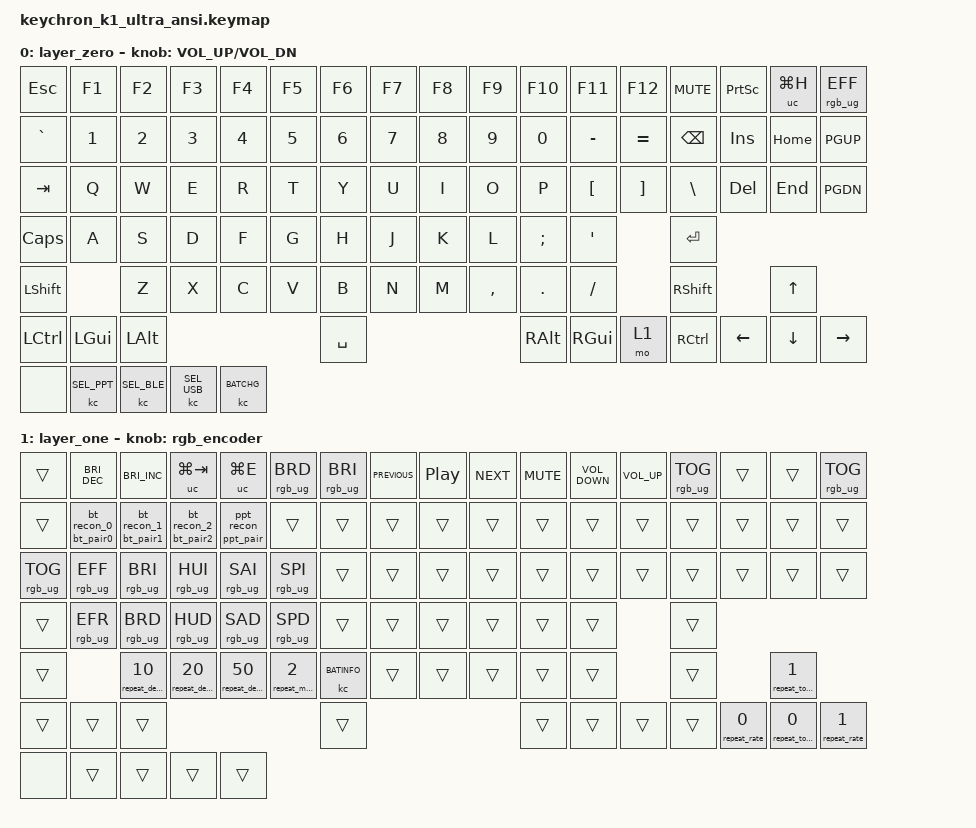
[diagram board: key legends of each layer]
/*
 * Copyright (c) 2023 The ZMK Contributors
 *
 * SPDX-License-Identifier: MIT
 */

#include <behaviors.dtsi>
#include <dt-bindings/zmk/bt.h>
#include <dt-bindings/zmk/keys.h>
#include <dt-bindings/zmk/rgb.h>
#include <dt-bindings/zmk/bt.h>
#include <dt-bindings/zmk/outputs.h>
#include <dt-bindings/zmk/keychron.h>

// [1] Enable with CONFIG_ZMK_KEY_REPEAT=y (already set in this shield's .conf).
//     Repeat is off by default; Fn+Up enables it, Fn+Down disables it, and, while it is on, pressing Enter pauses it for 5 seconds.
//     Pressing Enter again during the pause restarts the 5-second countdown.
//     Bind repeatable keys normally, e.g. &kp A or &kp BACKSPACE; they repeat while enabled.
//     Fn+Z/X/C sets the first-repeat delay to 10/20/50 ms; default is 20 ms.
//     Repeat interval defaults to 30 ms (10-100 ms, in 5 ms steps).
//     &repeat_rate 0 decreases the interval (faster); &repeat_rate 1 increases it (slower).
//     Fn+Left/Right adjusts the interval.
//     Fn+V toggles multi-key repeat: with it on, every held key repeats, otherwise only the newest.
//     Multi-key repeat only works while repeat is on; Fn+Up turns it on together with repeat and
//     Fn+Down turns it off together with repeat. Up to 6 keys repeat at once.
//     Both timings reset to their defaults after reboot.
//     Only 1-5, Q and E repeat; all other keys never repeat (edit is_repeatable() in src/key_auto_repeat.c).

// FUCK YOU

/ {
    behaviors {
        repeat_rate: repeat_rate {
            compatible = "zmk,behavior-key-repeat-rate";
            #binding-cells = <1>;
        };
        repeat_toggle: repeat_toggle {
            compatible = "zmk,behavior-key-repeat-toggle";
            #binding-cells = <1>;
        };
        repeat_delay: repeat_delay {
            compatible = "zmk,behavior-key-repeat-delay";
            #binding-cells = <1>;
        };
        repeat_multi: repeat_multi {
            compatible = "zmk,behavior-key-repeat-multi";
            #binding-cells = <1>;
        };
        repeat_pause: repeat_pause {
            compatible = "zmk,behavior-key-repeat-pause";
            #binding-cells = <0>;
        };
        rgb_encoder: rgb_encoder {
            compatible = "zmk,behavior-sensor-rotate";
            #sensor-binding-cells = <0>;
            bindings = <&rgb_ug RGB_BRI>, <&rgb_ug RGB_BRD>;
            tap-ms =<20>;
        };
        mouse_encoder: mouse_encoder {
            compatible = "zmk,behavior-sensor-rotate-var";
            #sensor-binding-cells = <2>;
            bindings = <&mkp>, <&mkp>;
            tap-ms =<20>;
        };
    };
    macro1:zm_ma{
        compatible = "zmk,behavior-macro-one-param";
        #binding-cells = <1>;
        bindings=<&kp 0x770000>;
    };

    // mac_lock:mac_lock{
    //     compatible = "zmk,behavior-macro";
    //     #binding-cells = <0>;
    //     bindings
    //         = <&macro_tap_time 200>,
    //           < &kp C_AL_LOCK>
          
    //         ;
    //  };

    // encoder_any: encoder_any {
    //     compatible = "zmk,behavior-sensor-rotate-var";
    //     #sensor-binding-cells = <2>;
    //     bindings = <&kp>, <&kp>;
    //     tap-ms =<20>;
    // };

    lm: layer_mod {
        compatible = "zmk,behavior-macro-two-param";
        wait-ms = <0>;
        tap-ms = <0>;
        #binding-cells = <2>;
        bindings
            = <&macro_param_1to1>
            , <&macro_press &mo 0>
            , <&macro_param_2to1>
            , <&macro_press &kp 0>
            , <&macro_pause_for_release>
            , <&macro_param_2to1>
            , <&macro_release &kp 0>
            , <&macro_param_1to1>
            , <&macro_release &mo 0>
            ;
    };
    // td1:tapd_layer{
    //     compatible = "zmk,behavior-tap-dance1";
    //     #binding-cells = <1>;
    //     tapping-term-ms = <350>;
    //     bindings =<&mo 0>,<&mo 0>,<&mo 0>,<&mo 0>,<&to 0>;
    // };

    kc_lp:l1{
        compatible = "zmk,behavior-hold-tap";
        #binding-cells = <2>;
        flavor = "tap-preferred";
        tapping-term-ms = <3000>;  // delay amount in ms
        bindings = <&kc>,<&none>;
    };

    long_press_bootloader:lp_bootloader{
        compatible = "zmk,behavior-hold-tap";
        #binding-cells = <2>;
        flavor = "tap-preferred";
        tapping-term-ms = <3000>;  // delay amount in ms
        bindings = <&bootloader>, <&none>;
    };
    // kc_nkro:kc_nkro{
    //     compatible = "zmk,behavior-hold-tap";
    //     #binding-cells = <2>;
    //     flavor = "tap-preferred";
    //     tapping-term-ms = <2000>;  // delay amount in ms
    //     bindings = <&kc NKRO>, <&none>;
    // };
    // Custom key slots: place &custom_key_1 / &custom_key_2 in any layer.
    // Edit only the bindings below to define what each key does, e.g.
    //   bindings = <&kp LC(C)>;                      // single key / shortcut
    //   bindings = <&kp H &kp I>;                    // key sequence
    //   bindings = <&kc BATINFO>;                    // Keychron function
    // They are unassigned (&none) until changed.
    ZMK_MACRO(custom_key_1, bindings = <&none>;)
    ZMK_MACRO(custom_key_2, bindings = <&none>;)
    ZMK_MACRO(bt_pair0, bindings = <&kc BT_PAIR 0>;)
    ZMK_MACRO(bt_pair1, bindings = <&kc BT_PAIR 1>;)
    ZMK_MACRO(bt_pair2, bindings = <&kc BT_PAIR 2>;)
    ZMK_MACRO(ppt_pair, bindings = <&kc PPT_PAIR 0>;)
    ZMK_MACRO(bt_recon_0, bindings = <&kc BT_SEL 0>;)
    ZMK_MACRO(bt_recon_1, bindings = <&kc BT_SEL 1>;)
    ZMK_MACRO(bt_recon_2, bindings = <&kc BT_SEL 2>;)
    ZMK_MACRO(ppt_recon, bindings = <&kc PPT_SEL 0>;)
    


    bt_pair_0: bt_pair_0 {
        compatible = "zmk,behavior-hold-tap";
  
        #binding-cells = <2>;
        flavor = "tap-preferred";
        tapping-term-ms = <3000>;  // delay amount in ms
        bindings = <&bt_pair0>, <&bt_recon_0>;
    };
    bt_pair_1: bt_pair_1 {
        compatible = "zmk,behavior-hold-tap";
 
        #binding-cells = <2>;
        flavor = "tap-preferred";
        tapping-term-ms = <3000>;  // delay amount in ms
        bindings = <&bt_pair1>, <&bt_recon_1>;
    };
    bt_pair_2: bt_pair_2 {
        compatible = "zmk,behavior-hold-tap";

        #binding-cells = <2>;
        flavor = "tap-preferred";
        tapping-term-ms = <3000>;  // delay amount in ms
        bindings = <&bt_pair2>, <&bt_recon_2>;
    };
    ppt_pair_0: ppt_pair_0 {
        compatible = "zmk,behavior-hold-tap";

        #binding-cells = <2>;
        flavor = "tap-preferred";
        tapping-term-ms = <3000>;  // delay amount in ms
        bindings = <&ppt_pair>, <&ppt_recon>;
    };
    uc:user_custom {
        compatible = "zmk,behavior-key-press";
        #binding-cells =<1>;
    };
    combos {
        compatible = "zmk,combos";
        combo_a {
                timeout-ms = <1000>;
                layers =< 0 1>;
                key-positions = <58 65>; //fn+j+z
                bindings = <&kc_lp RCV>;
        };
        // combo_b {v
        //         timeout-ms = <1000>;
        //         layers =< 0 1>;
        //         key-positions = <64>; //fn+b
        //         bindings = <&kc BATINFO>;
        // };
        // combo_c {
        //         timeout-ms = <1000>;
        //         layers =< 0 1>;
        //         key-positions = <58 81>; //fn+home+right
        //         bindings = <&kc_lp RGBTEST>;
        // };
        // combo_win_l {
        //     timeout-ms = <500>;
        //     layers =<1>;
        //     //slow-release = <true>;
        //     key-positions = <89>; //fn+win
        //     bindings = <&long_press_fn_win 0 0>;
        // };
    };

    ZMK_MACRO(fn_win_l, bindings = <&kc FN_WIN 0>;)
    ZMK_MACRO(fn_win_s, bindings = <&kc FN_WIN 1>;)
    long_press_fn_win:l4{
        compatible = "zmk,behavior-hold-tap";
        label = "lp_fn_win";
        #binding-cells = <2>;
        flavor = "tap-preferred";
        tapping-term-ms = <3000>;   
        bindings = <&fn_win_l>, <&fn_win_s>;
    };
    ZMK_MACRO(fn_win, bindings = <&kc MO_WIN_LAYER>;)
    lp_mo_win:lp_mo_win{
        compatible = "zmk,behavior-hold-tap";

        #binding-cells = <2>;
        flavor = "tap-preferred";
        tapping-term-ms = <3000>;   
        bindings = <&fn_win>,<&trans>;
    };
    keymap {
        compatible = "zmk,keymap";       
        // Windows
        layer_zero {
        bindings = <
        &kp ESC     &kp F1                 &kp F2                   &kp F3                              &kp F4                  &kp F5              &kp F6          &kp F7          &kp F8              &kp F9       &kp F10    &kp F11              &kp F12             &kp C_MUTE            &kp PSCRN             &uc LG(H)        &rgb_ug RGB_EFF                  
        &kp GRAVE   &kp N1                 &kp N2                   &kp N3                              &kp N4                  &kp N5              &kp N6          &kp N7          &kp N8              &kp N9       &kp N0     &kp MINUS            &kp EQUAL           &kp BSPC              &kp INSERT            &kp HOME         &kp PGUP                
        &kp TAB     &kp Q                  &kp W                    &kp E                               &kp R                   &kp T               &kp Y           &kp U           &kp I               &kp O        &kp P      &kp LBKT             &kp RBKT            &kp BSLH              &kp DEL               &kp END          &kp PGDN                
        &kp CLCK    &kp A                  &kp S                    &kp D                               &kp F                   &kp G               &kp H           &kp J           &kp K               &kp L        &kp SEMI   &kp SQT                                  &kp RET                                                                     
        &kp LSHFT                          &kp Z                    &kp X                               &kp C                   &kp V               &kp B           &kp N           &kp M               &kp COMMA    &kp DOT    &kp FSLH                                 &kp RSHFT                                   &kp UP                     
        &kp LCTRL   &kp LGUI               &kp LALT                                                                                                 &kp SPACE                                                        &kp RALT   &kp RGUI             &mo 1               &kp RCTRL             &kp LEFT              &kp DOWN          &kp RIGHT
        //keychron control
        &none   &kc SEL_PPT   &kc SEL_BLE       &kc SEL_USB   &kc  BATCHG
        >;
        sensor-bindings = <&inc_dec_kp C_VOL_UP C_VOL_DN>;
        };
        // Windows Fn layer
        layer_one {
        bindings = < 
                                        //f1                        //f2                        //f3                                //f4                        //f5            //f6                //f7            //f8                //f9        //f10           //f11                         //f12                     
        &trans                          &kp C_BRIGHTNESS_DEC        &kp C_BRIGHTNESS_INC        &uc LG(TAB)                         &uc LG(E)               &rgb_ug RGB_BRD     &rgb_ug RGB_BRI     &kp C_PREVIOUS  &kp C_PLAY_PAUSE    &kp C_NEXT  &kp C_MUTE  &kp C_VOLUME_DOWN           &kp C_VOLUME_UP      &rgb_ug RGB_TOG      &trans                &trans    &rgb_ug RGB_TOG                              
        &trans                          &bt_pair_0 0 0              &bt_pair_1 0 0              &bt_pair_2 0 0                      &ppt_pair_0 0 0         &trans              &trans              &trans          &trans              &trans      &trans      &trans                      &trans               &trans               &trans                &trans    &trans 
        &rgb_ug RGB_TOG                 &rgb_ug RGB_EFF             &rgb_ug RGB_BRI             &rgb_ug RGB_HUI                     &rgb_ug RGB_SAI         &rgb_ug RGB_SPI     &trans              &trans          &trans              &trans      &trans      &trans                      &trans               &trans               &trans                &trans    &trans  
        &trans                          &rgb_ug RGB_EFR             &rgb_ug RGB_BRD             &rgb_ug RGB_HUD                     &rgb_ug RGB_SAD         &rgb_ug RGB_SPD     &trans              &trans          &trans              &trans      &trans      &trans                                           &trans
        &trans                          &repeat_delay 10            &repeat_delay 20                &repeat_delay 50    &repeat_multi 2             &kc BATINFO         &trans          &trans              &trans      &trans      &trans                                           &trans                                     &repeat_toggle 1
        &trans                          &trans                      &trans                          &trans              &trans              &trans              &trans              &trans              &repeat_rate 0         &repeat_toggle 0    &repeat_rate 1
        //
        &none                         &trans   &trans                      &trans                      &trans                                               
        >;
        sensor-bindings = <&rgb_encoder>;
        };

        
    };
};
&mt {
    tapping-term-ms = <400>;
};
&inc_dec_kp {
    tap-ms=<20>;
};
